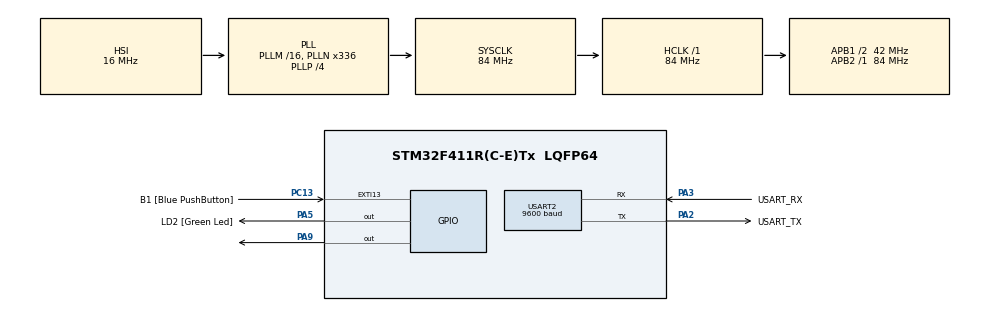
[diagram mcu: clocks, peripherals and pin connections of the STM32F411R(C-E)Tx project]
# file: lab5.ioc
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Dma.Request0=USART2_RX
Dma.Request1=USART2_TX
Dma.USART2_RX.0.Direction=DMA_PERIPH_TO_MEMORY
Dma.USART2_RX.0.FIFOMode=DMA_FIFOMODE_DISABLE
Dma.USART2_RX.0.Instance=DMA1_Stream5
Dma.USART2_RX.0.MemDataAlignment=DMA_MDATAALIGN_BYTE
Dma.USART2_RX.0.MemInc=DMA_MINC_ENABLE
Dma.USART2_RX.0.Mode=DMA_CIRCULAR
Dma.USART2_RX.0.PeriphDataAlignment=DMA_PDATAALIGN_BYTE
Dma.USART2_RX.0.PeriphInc=DMA_PINC_DISABLE
Dma.USART2_RX.0.Priority=DMA_PRIORITY_LOW
Dma.USART2_TX.1.Direction=DMA_MEMORY_TO_PERIPH
Dma.USART2_TX.1.FIFOMode=DMA_FIFOMODE_DISABLE
Dma.USART2_TX.1.Instance=DMA1_Stream6
Dma.USART2_TX.1.MemDataAlignment=DMA_MDATAALIGN_BYTE
Dma.USART2_TX.1.MemInc=DMA_MINC_ENABLE
Dma.USART2_TX.1.Mode=DMA_NORMAL
Dma.USART2_TX.1.PeriphDataAlignment=DMA_PDATAALIGN_BYTE
Dma.USART2_TX.1.PeriphInc=DMA_PINC_DISABLE
Dma.USART2_TX.1.Priority=DMA_PRIORITY_LOW
Mcu.Family=STM32F4
Mcu.Name=STM32F411R(C-E)Tx
Mcu.Package=LQFP64
NVIC.DMA1_Stream5_IRQn=true\:0\:0\:false\:false\:true\:false\:true\:true
NVIC.DMA1_Stream6_IRQn=true\:0\:0\:false\:false\:true\:false\:true\:true
NVIC.PriorityGroup=NVIC_PRIORITYGROUP_0
NVIC.USART2_IRQn=true\:0\:0\:false\:false\:true\:true\:true\:true
PA13.GPIO_Label=TMS
PA13.Mode=Serial_Wire
PA13.Signal=SYS_JTMS-SWDIO
PA14.GPIO_Label=TCK
PA14.Mode=Serial_Wire
PA14.Signal=SYS_JTCK-SWCLK
PA2.GPIO_Label=USART_TX
PA2.Mode=Asynchronous
PA2.Signal=USART2_TX
PA3.GPIO_Label=USART_RX
PA3.Mode=Asynchronous
PA3.Signal=USART2_RX
PA5.GPIO_Label=LD2 [Green Led]
PA5.Signal=GPIO_Output
PA9.Signal=GPIO_Output
PB3.GPIO_Label=SWO
PB3.Signal=SYS_JTDO-SWO
PC13-ANTI_TAMP.GPIO_Label=B1 [Blue PushButton]
PC13-ANTI_TAMP.GPIO_ModeDefaultEXTI=GPIO_MODE_IT_FALLING
PC13-ANTI_TAMP.Signal=GPXTI13
PC14-OSC32_IN.Mode=LSE-External-Oscillator
PC14-OSC32_IN.Signal=RCC_OSC32_IN
PC15-OSC32_OUT.Mode=LSE-External-Oscillator
PC15-OSC32_OUT.Signal=RCC_OSC32_OUT
PH0\ -\ OSC_IN.Mode=HSE-External-Clock-Source
PH0\ -\ OSC_IN.Signal=RCC_OSC_IN
PH1\ -\ OSC_OUT.Mode=HSE-External-Clock-Source
PH1\ -\ OSC_OUT.Signal=RCC_OSC_OUT
ProjectManager.HeapSize=0x200
ProjectManager.StackSize=0x400
ProjectManager.TargetToolchain=STM32CubeIDE
RCC.48MHZClocksFreq_Value=84000000
RCC.AHBFreq_Value=84000000
RCC.APB1CLKDivider=RCC_HCLK_DIV2
RCC.APB1Freq_Value=42000000
RCC.APB1TimFreq_Value=84000000
RCC.APB2Freq_Value=84000000
RCC.APB2TimFreq_Value=84000000
RCC.CortexFreq_Value=84000000
RCC.FLatency-AdvancedSettings=FLASH_LATENCY_2
RCC.HCLKFreq_Value=84000000
RCC.HSE_VALUE=8000000
RCC.HSI_VALUE=16000000
RCC.PLLN=336
RCC.PLLP=RCC_PLLP_DIV4
RCC.SYSCLKFreq_VALUE=84000000
RCC.SYSCLKSource=RCC_SYSCLKSOURCE_PLLCLK
RCC.VCOOutputFreq_Value=336000000
USART2.BaudRate=9600
USART2.VirtualMode=VM_ASYNC
board=NUCLEO-F411RE

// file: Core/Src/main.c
/* USER CODE BEGIN Header */
/**
  ******************************************************************************
  * @file           : main.c
  * @brief          : Main program body
  ******************************************************************************
  * @attention
  *
  * Copyright (c) 2023 STMicroelectronics.
  * All rights reserved.
  *
  * This software is licensed under terms that can be found in the LICENSE file
  * in the root directory of this software component.
  * If no LICENSE file comes with this software, it is provided AS-IS.
  *
  ******************************************************************************
  */
/* USER CODE END Header */
#include "main.h"

/* USER CODE BEGIN Includes */
#include "stdio.h"
#include "string.h"
#include <locale.h>
/* USER CODE END Includes */

UART_HandleTypeDef huart2;
DMA_HandleTypeDef hdma_usart2_rx;
DMA_HandleTypeDef hdma_usart2_tx;

/* USER CODE BEGIN PV */

uint8_t RXbuffer[20];
uint8_t TXbuffer[1000];

uint8_t status = 0;

uint32_t ledhz = 1;

int8_t ledonoff = 1;
uint8_t state;

/* USER CODE END PV */

void SystemClock_Config(void);
static void MX_GPIO_Init(void);
static void MX_DMA_Init(void);
static void MX_USART2_UART_Init(void);

int main(void)
{

  /* MCU Configuration--------------------------------------------------------*/

  /* Reset of all peripherals, Initializes the Flash interface and the Systick. */
  HAL_Init();

  /* Configure the system clock */
  SystemClock_Config();

  /* Initialize all configured peripherals */
  MX_GPIO_Init();
  MX_DMA_Init();
  MX_USART2_UART_Init();

  /* Infinite loop */
  /* USER CODE BEGIN WHILE */

  sprintf((char*)TXbuffer,
		  "Choose which of this topics\r\n 0: LED Control\r\n 1: Button Status\r\n\r\n\r\n\r\n\r\n");

  HAL_UART_Transmit_DMA(&huart2, TXbuffer, strlen((char*)TXbuffer));

  UARTDMAConfig();
  while (1)
  {

	  HAL_GPIO_TogglePin(GPIOA, GPIO_PIN_9);
	  menu();
	  ledhztask();

    /* USER CODE END WHILE */

  }
}

void SystemClock_Config(void)
{
  RCC_OscInitTypeDef RCC_OscInitStruct = {0};
  RCC_ClkInitTypeDef RCC_ClkInitStruct = {0};

  /** Configure the main internal regulator output voltage
  */
  __HAL_RCC_PWR_CLK_ENABLE();
  __HAL_PWR_VOLTAGESCALING_CONFIG(PWR_REGULATOR_VOLTAGE_SCALE1);

  /** Initializes the RCC Oscillators according to the specified parameters
  * in the RCC_OscInitTypeDef structure.
  */
  RCC_OscInitStruct.OscillatorType = RCC_OSCILLATORTYPE_HSI;
  RCC_OscInitStruct.HSIState = RCC_HSI_ON;
  RCC_OscInitStruct.HSICalibrationValue = RCC_HSICALIBRATION_DEFAULT;
  RCC_OscInitStruct.PLL.PLLState = RCC_PLL_ON;
  RCC_OscInitStruct.PLL.PLLSource = RCC_PLLSOURCE_HSI;
  RCC_OscInitStruct.PLL.PLLM = 16;
  RCC_OscInitStruct.PLL.PLLN = 336;
  RCC_OscInitStruct.PLL.PLLP = RCC_PLLP_DIV4;
  RCC_OscInitStruct.PLL.PLLQ = 4;
  if (HAL_RCC_OscConfig(&RCC_OscInitStruct) != HAL_OK)
  {
    Error_Handler();
  }

  /** Initializes the CPU, AHB and APB buses clocks
  */
  RCC_ClkInitStruct.ClockType = RCC_CLOCKTYPE_HCLK|RCC_CLOCKTYPE_SYSCLK
                              |RCC_CLOCKTYPE_PCLK1|RCC_CLOCKTYPE_PCLK2;
  RCC_ClkInitStruct.SYSCLKSource = RCC_SYSCLKSOURCE_PLLCLK;
  RCC_ClkInitStruct.AHBCLKDivider = RCC_SYSCLK_DIV1;
  RCC_ClkInitStruct.APB1CLKDivider = RCC_HCLK_DIV2;
  RCC_ClkInitStruct.APB2CLKDivider = RCC_HCLK_DIV1;

  if (HAL_RCC_ClockConfig(&RCC_ClkInitStruct, FLASH_LATENCY_2) != HAL_OK)
  {
    Error_Handler();
  }
}

static void MX_USART2_UART_Init(void)
{

  huart2.Instance = USART2;
  huart2.Init.BaudRate = 9600;
  huart2.Init.WordLength = UART_WORDLENGTH_8B;
  huart2.Init.StopBits = UART_STOPBITS_1;
  huart2.Init.Parity = UART_PARITY_NONE;
  huart2.Init.Mode = UART_MODE_TX_RX;
  huart2.Init.HwFlowCtl = UART_HWCONTROL_NONE;
  huart2.Init.OverSampling = UART_OVERSAMPLING_16;
  if (HAL_UART_Init(&huart2) != HAL_OK)
  {
    Error_Handler();
  }

}

static void MX_DMA_Init(void)
{

  /* DMA controller clock enable */
  __HAL_RCC_DMA1_CLK_ENABLE();

  /* DMA interrupt init */
  /* DMA1_Stream5_IRQn interrupt configuration */
  HAL_NVIC_SetPriority(DMA1_Stream5_IRQn, 0, 0);
  HAL_NVIC_EnableIRQ(DMA1_Stream5_IRQn);
  /* DMA1_Stream6_IRQn interrupt configuration */
  HAL_NVIC_SetPriority(DMA1_Stream6_IRQn, 0, 0);
  HAL_NVIC_EnableIRQ(DMA1_Stream6_IRQn);

}

static void MX_GPIO_Init(void)
{
  GPIO_InitTypeDef GPIO_InitStruct = {0};

  /* GPIO Ports Clock Enable */
  __HAL_RCC_GPIOC_CLK_ENABLE();
  __HAL_RCC_GPIOH_CLK_ENABLE();
  __HAL_RCC_GPIOA_CLK_ENABLE();
  __HAL_RCC_GPIOB_CLK_ENABLE();

  /*Configure GPIO pin Output Level */
  HAL_GPIO_WritePin(GPIOA, LD2_Pin|GPIO_PIN_9, GPIO_PIN_RESET);

  /*Configure GPIO pin : B1_Pin */
  GPIO_InitStruct.Pin = B1_Pin;
  GPIO_InitStruct.Mode = GPIO_MODE_IT_FALLING;
  GPIO_InitStruct.Pull = GPIO_NOPULL;
  HAL_GPIO_Init(B1_GPIO_Port, &GPIO_InitStruct);

  /*Configure GPIO pins : LD2_Pin PA9 */
  GPIO_InitStruct.Pin = LD2_Pin|GPIO_PIN_9;
  GPIO_InitStruct.Mode = GPIO_MODE_OUTPUT_PP;
  GPIO_InitStruct.Pull = GPIO_NOPULL;
  GPIO_InitStruct.Speed = GPIO_SPEED_FREQ_LOW;
  HAL_GPIO_Init(GPIOA, &GPIO_InitStruct);

}

/* USER CODE BEGIN 4 */
void UARTDMAConfig(){
	HAL_UART_Receive_DMA(&huart2, RXbuffer, 1);
}

void ledhztask()
{
	uint32_t sec;
	sec = 1000 / (2 * ledhz);
	static uint32_t timestamp = 0;
	if(ledonoff == 1)
	{
		if(HAL_GetTick() >= timestamp)
			{
				timestamp = HAL_GetTick() + sec;
				HAL_GPIO_TogglePin(LD2_GPIO_Port, LD2_Pin);
			}
	}
	else if(ledonoff == 0)
	{
		HAL_GPIO_WritePin(LD2_GPIO_Port, LD2_Pin, GPIO_PIN_RESET);
	}

}

void menu()
{
	switch (status)
	{

		case 0:

			if(RXbuffer[0] == '0')
			{
				status = 1;
				sprintf((char*)TXbuffer,
						"LED_CONTROL MODE \r\n a: Gain Hz \r\n s: Reduce Hz \r\n d: ON/OFF button \r\n x: Back to menu \r\n");
				HAL_UART_Transmit_DMA(&huart2, TXbuffer, strlen((char*)TXbuffer));
				RXbuffer[0] = '\000';
			}

			else if(RXbuffer[0] == '1')
			{
				status = 2;
				sprintf((char*)TXbuffer,
						"BUTTON_STATUS MODE \r\n PRESS USER BUTTON: PRESS \r\n LEFT USER BUTTON: UNPRESS \r\n x: Back to menu \r\n");
				HAL_UART_Transmit_DMA(&huart2, TXbuffer, strlen((char*)TXbuffer));
				RXbuffer[0] = '\000';
			}

			else if(RXbuffer[0] != '0' && RXbuffer[0] != '1' && RXbuffer[0] != '\000')
			{
				RXbuffer[0] = '\000';
				sprintf((char*)TXbuffer,"Please press the right button \r\n");
				HAL_UART_Transmit_DMA(&huart2, TXbuffer, strlen((char*)TXbuffer));
			}

			break;

		case 1:
			if(RXbuffer[0] == 'a')
			{
				ledhz += 1;
				sprintf((char*)TXbuffer,"---> HZ (+) %d\r\n", ledhz);
				HAL_UART_Transmit_DMA(&huart2, TXbuffer, strlen((char*)TXbuffer));
				RXbuffer[0] = '\000';
			}

			else if(RXbuffer[0] == 's')
			{
				ledhz -= 1;
				sprintf((char*)TXbuffer,"<--- HZ (-) %d\r\n", ledhz);
				HAL_UART_Transmit_DMA(&huart2, TXbuffer, strlen((char*)TXbuffer));
				RXbuffer[0] = '\000';
				if(ledhz <= 1)
				{
					ledhz = 1;
				}
			}

			else if(RXbuffer[0] == 'd')
			{
				if(ledonoff == 0)
				{
					ledonoff = 1;
					sprintf((char*)TXbuffer,"ON LIGHT\r\n");
					HAL_UART_Transmit_DMA(&huart2, TXbuffer, strlen((char*)TXbuffer));
				}
				else if(ledonoff == 1)
				{
					ledonoff = 0;
					sprintf((char*)TXbuffer,"OFF LIGHT\r\n");
					HAL_UART_Transmit_DMA(&huart2, TXbuffer, strlen((char*)TXbuffer));
				}
				RXbuffer[0] = '\000';
			}

			else if(RXbuffer[0] == 'x')
			{
				sprintf((char*)TXbuffer,
						"\r\n\r\n\r\n\r\n\r\nMain Menu\r\n 0: LED Control\r\n 1: Button Status\r\n\r\n\r\n\r\n\r\n");
				HAL_UART_Transmit_DMA(&huart2, TXbuffer, strlen((char*)TXbuffer));
				status = 0;
				RXbuffer[0] = '\000';
			}

			else if(RXbuffer[0] != 'a' && RXbuffer[0] != 's' && RXbuffer[0] != 'd' && RXbuffer[0] != 'x' && RXbuffer[0] != '\000' && RXbuffer[0] != '\0'){
				RXbuffer[0] = '\000';
				sprintf((char*)TXbuffer,"Please press the right button \r\n");
				HAL_UART_Transmit_DMA(&huart2, TXbuffer, strlen((char*)TXbuffer));
			}

			break;

		case 2:
			state = HAL_GPIO_ReadPin(GPIOC, GPIO_PIN_13);
			static uint32_t timestamp2 = 0;
			if(HAL_GetTick()>=timestamp2)
			{
				timestamp2 = HAL_GetTick() + 1000;
				if(!state)
				{
					sprintf((char*)TXbuffer,"Press \r\n");
					HAL_UART_Transmit_DMA(&huart2, TXbuffer, strlen((char*)TXbuffer));
				}

				else if(state)
				{
					sprintf((char*)TXbuffer,"Unpress \r\n");
					HAL_UART_Transmit_DMA(&huart2, TXbuffer, strlen((char*)TXbuffer));
				}
			}

			if(RXbuffer[0] == 'x')
			{
				sprintf((char*)TXbuffer,"\r\n\r\n\r\n\r\n\r\nMain Menu\r\n 0: LED Control\r\n 1: Button Status\r\n\r\n\r\n\r\n\r\n");
				HAL_UART_Transmit_DMA(&huart2, TXbuffer, strlen((char*)TXbuffer));
				status = 0;
				RXbuffer[0] = '\000';
			}

			else if(RXbuffer[0] != 'x' && RXbuffer[0] != '\000' && RXbuffer[0] != '\0')
			{
				sprintf((char*)TXbuffer,"Please press the right button \r\n");
				HAL_UART_Transmit_DMA(&huart2, TXbuffer, strlen((char*)TXbuffer));
				RXbuffer[0] = '\000';
			}

			break;

	}
}
/* USER CODE END 4 */

void Error_Handler(void)
{
  __disable_irq();
  while (1)
  {
  }
}
